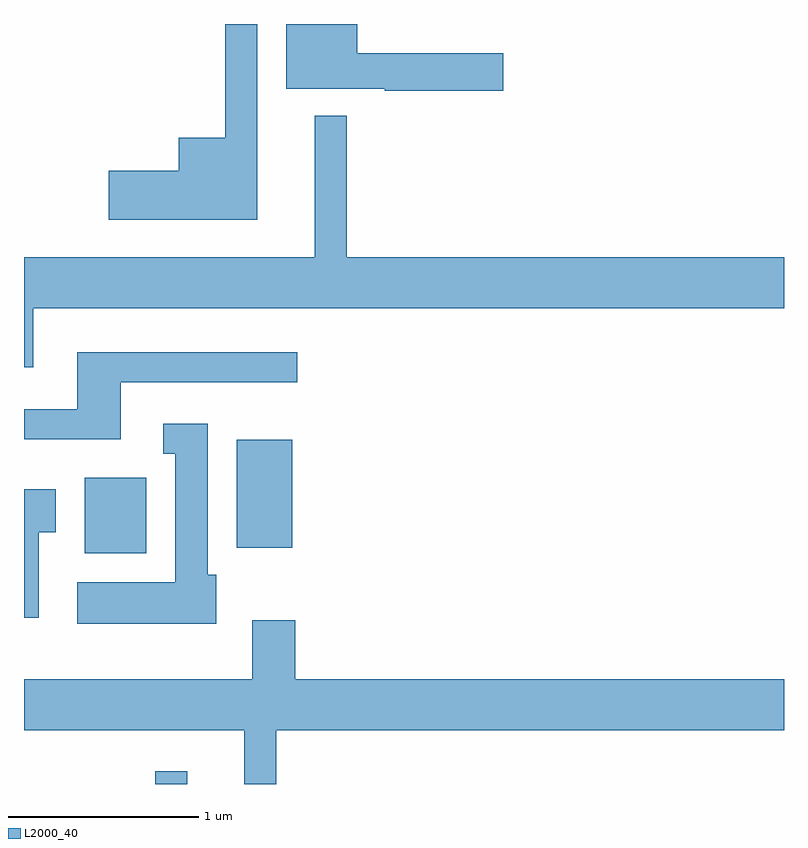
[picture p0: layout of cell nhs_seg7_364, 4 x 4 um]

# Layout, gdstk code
import gdstk
lib = gdstk.Library(unit=1e-6, precision=1e-09)
def R(c, l, rs):  # rectangles x0, y0, x1, y1
    for r in rs: c.add(gdstk.rectangle(r[:2], r[2:], *l))
def P(c, l, *ps):  # polygons
    for p in ps: c.add(gdstk.Polygon(p, *l))
L2000_40 = (2000, 40)

nhs_seg7_364 = lib.new_cell('nhs_seg7_364')
R(nhs_seg7_364, L2000_40, [(196.301,1716.252,196.469,1716.318), (195.931,1717.466,196.254,1717.864), (196.731,1717.496,197.024,1718.064)])
P(nhs_seg7_364, L2000_40, [(196.839,1720.252),(196.671,1720.252),(196.671,1719.654),(196.426,1719.654),(196.426,1719.479),(196.056,1719.479),(196.056,1719.221),(196.839,1719.221)],
  [(198.134,1720.099),(197.364,1720.099),(197.364,1720.252),(196.991,1720.252),(196.991,1719.911),(197.51,1719.911),(197.51,1719.901),(198.134,1719.901)],
  [(195.659,1718.756),(199.611,1718.756),(199.611,1719.024),(197.309,1719.024),(197.309,1719.768),(197.141,1719.768),(197.141,1719.024),(195.611,1719.024),(195.611,1718.446),(195.659,1718.446)],
  [(196.119,1718.366),(197.048,1718.366),(197.048,1718.524),(195.891,1718.524),(195.891,1718.224),(195.611,1718.224),(195.611,1718.066),(196.119,1718.066)],
  [(196.624,1717.354),(196.579,1717.354),(196.579,1718.149),(196.343,1718.149),(196.343,1717.991),(196.406,1717.991),(196.406,1717.314),(195.891,1717.314),(195.891,1717.096),(196.624,1717.096)],
  [(195.689,1717.576),(195.779,1717.576),(195.779,1717.804),(195.611,1717.804),(195.611,1717.126),(195.689,1717.126)],
  [(196.939,1716.536),(199.611,1716.536),(199.611,1716.804),(197.039,1716.804),(197.039,1717.114),(196.811,1717.114),(196.811,1716.804),(195.611,1716.804),(195.611,1716.536),(196.771,1716.536),(196.771,1716.252),(196.939,1716.252)])

lib.write_gds('nhs_seg7_364.gds')
